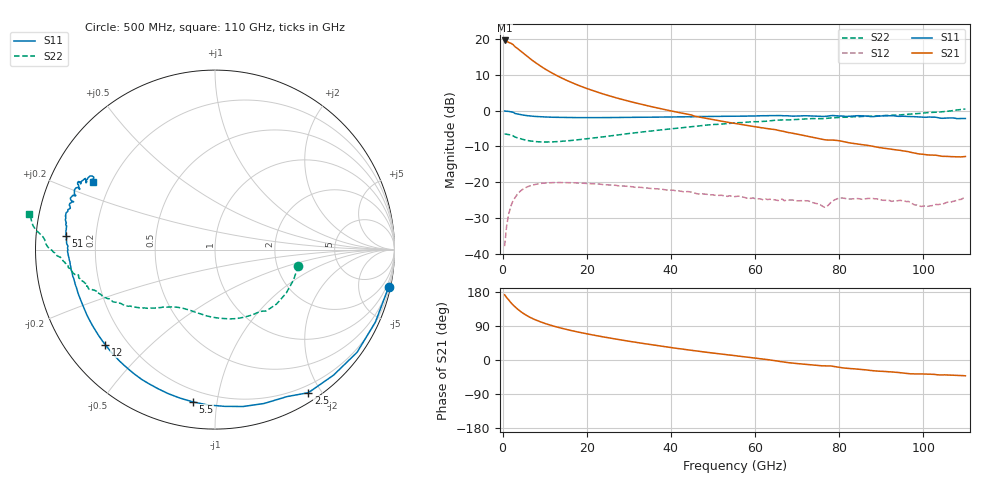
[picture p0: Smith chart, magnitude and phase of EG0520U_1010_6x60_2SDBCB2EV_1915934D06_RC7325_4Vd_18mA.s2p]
!File name = EG0520U_1010_6x60_2SDBCB2EV_1915934D06_RC7325_4Vd_18mA.s2p
!Base file name = EG0520U_1010_6x60_2SDBCB2EV_1915934D06_RC7325
!Date = 8/23/2019
!Time = 1:11 PM
!Test duration(min) = 0.15
!Test = S-Parameters
!MPTS version = 8.91.5
!State File = C:\Data\PNA\20190821205423\S-Parameters_2019-08-23.sta
!Cal File =
!ComputerName = CMPE-LAB-6
!Comments =
!Attenuation = 0
!Z0 = 50
!Input Power(dBm) = -13.00
!Device ID = EG0520U_1010_6x60_2SDBCB2EV
!Row = 73
!Column = 25
!Technology = QPHT09
!Lot/Wafer = 1915934D06
!Gate Size = 360
!Mask = EG0520
!Cal Standards = GaAs BCB
!Cal Kit = EG2306
!Job Number = 20190821205423
!Device Type = FET
!set_Vg(v) = -1.500
!set_Vd(v) = 4.000
!set_Vd(mA) = 18.000
!file_name = EG0520U_1010_6x60_2SDBCB2EV_1915934D06_RC7325_4Vd_18mA.s2p
!Vd(V) = 4.000
!Vd(mA) = 17.840
!Vg(V) = -0.678
!Vg(mA) = -0.010
# GHz  S  DB  R  50
!%	Freq(GHz)  s11(dB)  s11(deg)  s21(dB)  s21(deg)  s12(dB)  s12(deg)  s22(dB)  s22(deg)
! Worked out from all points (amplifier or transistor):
!   220 points, 500 MHz to 110 GHz, reference 50 ohm
!   highest |S21| = 19.6 dB at 500 MHz (marker M1)
!   |S21| within 3 dB of that: start of sweep to 4.341 GHz
!   unconditionally stable (mu >= 1): 37.09 GHz to 101.5 GHz
!   at 18.5 GHz: K = 0.50, MSG = 13.5 dB, |S12| = -20.2 dB
!   at 55.5 GHz: K = 1.42, MAG = 6.3 dB, |S12| = -23.9 dB
!   at 110 GHz: K = -2.32, MSG = 5.7 dB, |S12| = -24.3 dB
!   S11 on the Smith chart (normalised r, x): 500 MHz: 0.46, -9.29; 2.5 GHz: 0.11, -1.84; 5.5 GHz: 0.13, -0.86; 12 GHz: 0.12, -0.37; 51 GHz: 0.09, +0.05; 110 GHz: 0.13, +0.26
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0.5  -0.09 -12.3  19.59 172.2  -37.82 80.5  -6.49 -11.0
1  -0.17 -24.3  19.30 164.6  -31.98 74.8  -6.58 -21.3
2  -0.34 -46.6  18.81 151.2  -26.61 62.3  -6.79 -41.5
2.5  -0.43 -56.9  18.45 145.3  -25.13 57.0  -7.02 -50.1
3  -0.80 -63.9  17.83 140.0  -24.24 52.6  -7.38 -53.6
4  -1.03 -79.8  16.93 130.6  -22.72 44.4  -7.74 -66.7
4.5  -1.16 -86.6  16.44 126.3  -22.21 40.7  -7.90 -72.6
5.5  -1.34 -98.3  15.48 119.0  -21.48 34.7  -8.23 -82.4
7  -1.54 -112.2  14.12 110.0  -20.81 27.5  -8.52 -93.7
8.5  -1.65 -122.5  12.87 102.9  -20.42 22.2  -8.69 -101.6
10  -1.75 -130.7  11.71 96.8  -20.20 17.6  -8.74 -107.9
12  -1.84 -139.2  10.35 89.9  -20.08 12.9  -8.71 -114.2
15  -1.90 -148.4  8.59 81.2  -20.07 7.5  -8.47 -121.0
19  -1.94 -156.9  6.63 71.4  -20.23 2.0  -7.98 -126.8
27  -1.90 -167.6  3.58 55.1  -20.85 -5.2  -6.83 -134.7
37  -1.79 -176.0  0.70 37.7  -21.84 -9.8  -5.45 -142.7
51  -1.59 174.7  -2.71 17.0  -23.67 -12.4  -3.84 -154.3
55.5  -1.55 171.8  -3.61 11.2  -23.94 -13.3  -3.40 -157.1
73.5  -1.49 161.9  -7.40 -13.3  -25.56 -20.1  -2.21 -168.2
92  -1.43 153.4  -10.68 -31.2  -25.07 -28.1  -1.31 -177.0
101  -1.82 152.4  -12.34 -37.3  -26.69 -28.8  -0.56 178.6
110  -2.19 150.8  -12.78 -41.7  -24.27 -24.7  0.47 169.1
